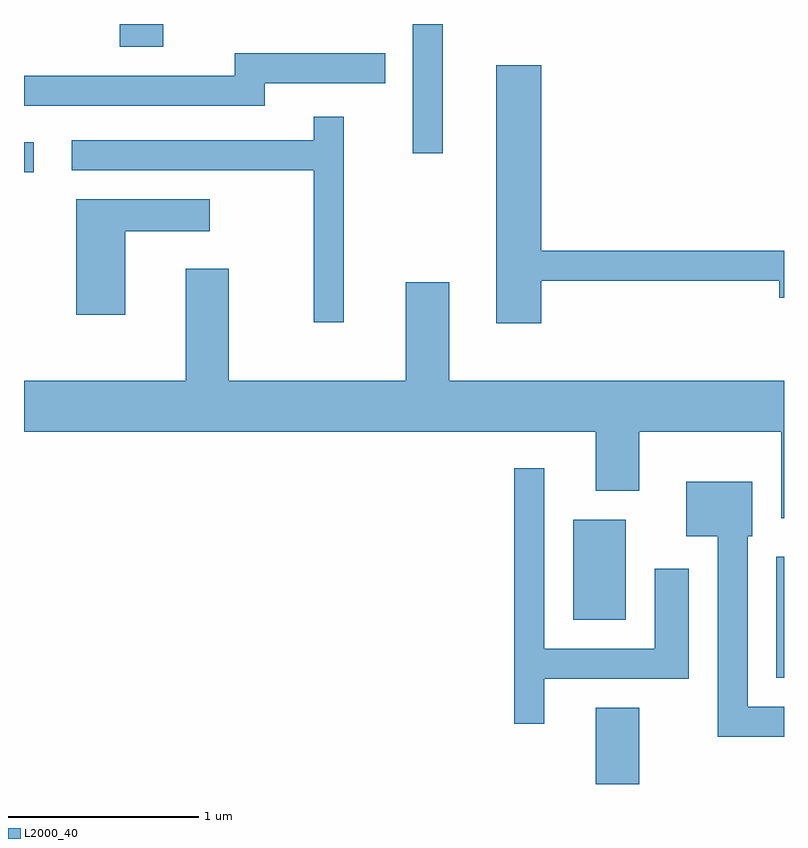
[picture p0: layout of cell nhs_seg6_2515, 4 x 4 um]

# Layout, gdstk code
import gdstk
lib = gdstk.Library(unit=1e-6, precision=1e-09)
def R(c, l, rs):  # rectangles x0, y0, x1, y1
    for r in rs: c.add(gdstk.rectangle(r[:2], r[2:], *l))
def P(c, l, *ps):  # polygons
    for p in ps: c.add(gdstk.Polygon(p, *l))
L2000_40 = (2000, 40)

nhs_seg6_2515 = lib.new_cell('nhs_seg6_2515')
R(nhs_seg6_2515, L2000_40, [(264.621,1568.162,264.849,1568.564), (265.571,1568.721,265.611,1569.359), (264.501,1569.026,264.779,1569.554), (261.611,1571.381,261.663,1571.539), (263.656,1571.483,263.814,1572.162), (262.116,1572.041,262.344,1572.162)])
P(nhs_seg6_2515, L2000_40, [(262.879,1571.851),(263.513,1571.851),(263.513,1572.009),(262.721,1572.009),(262.721,1571.889),(261.611,1571.889),(261.611,1571.731),(262.879,1571.731)],
  [(264.334,1570.811),(265.586,1570.811),(265.586,1570.721),(265.611,1570.721),(265.611,1570.969),(264.334,1570.969),(264.334,1571.944),(264.096,1571.944),(264.096,1570.586),(264.334,1570.586)],
  [(263.294,1571.673),(263.136,1571.673),(263.136,1571.549),(261.863,1571.549),(261.863,1571.391),(263.136,1571.391),(263.136,1570.593),(263.294,1570.593)],
  [(262.144,1571.071),(262.588,1571.071),(262.588,1571.239),(261.886,1571.239),(261.886,1570.631),(262.144,1570.631)],
  [(265.611,1570.284),(263.849,1570.284),(263.849,1570.804),(263.621,1570.804),(263.621,1570.284),(262.689,1570.284),(262.689,1570.874),(262.461,1570.874),(262.461,1570.284),(261.611,1570.284),(261.611,1570.016),(264.621,1570.016),(264.621,1569.706),(264.849,1569.706),(264.849,1570.016),(265.596,1570.016),(265.596,1569.561),(265.611,1569.561)],
  [(264.349,1568.716),(265.109,1568.716),(265.109,1569.294),(264.931,1569.294),(264.931,1568.874),(264.349,1568.874),(264.349,1569.823),(264.191,1569.823),(264.191,1568.478),(264.349,1568.478)],
  [(265.611,1568.569),(265.419,1568.569),(265.419,1569.466),(265.444,1569.466),(265.444,1569.754),(265.096,1569.754),(265.096,1569.466),(265.261,1569.466),(265.261,1568.411),(265.611,1568.411)])

lib.write_gds('nhs_seg6_2515.gds')
